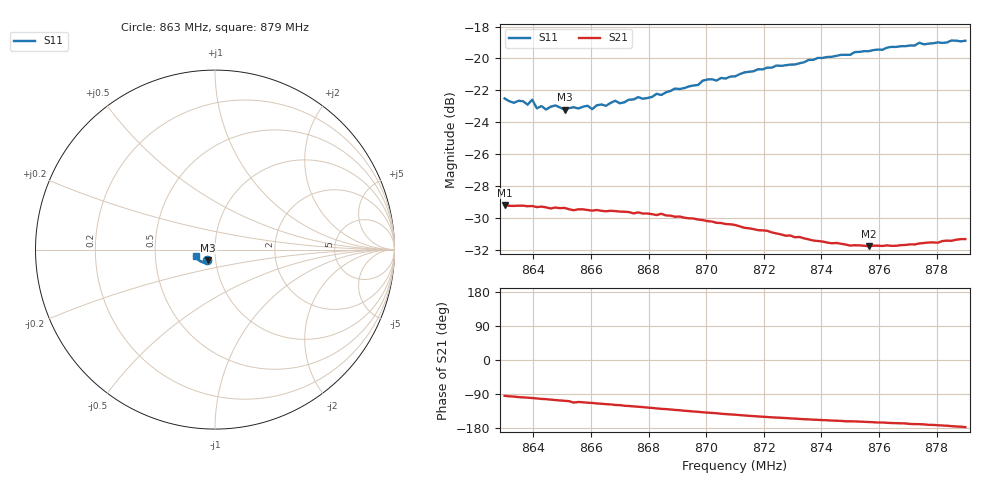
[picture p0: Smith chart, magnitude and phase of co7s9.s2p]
# HZ S RI R 50
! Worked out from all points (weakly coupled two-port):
!   101 points, 863 MHz to 879 MHz, reference 50 ohm
!   highest |S21| = -29.16 dB at 863 MHz (marker M1); lowest = -31.7 dB at 875.64 MHz (marker M2)
!   lowest |S11| = -23.2 dB at 865.08 MHz (marker M3), VSWR 1.15, Z = 46 - j5.33 ohm
!   |S11| at or under -10 dB: start of sweep to end of sweep
!   S12 and S22 are empty: the file has one direction only
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8.63e8  -0.0471 -0.0584  -0.0028 -0.0347  0 0  0 0
8.638e8  -0.0433 -0.0571  -0.00572 -0.034  0 0  0 0
8.6396e8  -0.0484 -0.0564  -0.00621 -0.034  0 0  0 0
8.6412e8  -0.0412 -0.0563  -0.0068 -0.0336  0 0  0 0
8.6428e8  -0.0409 -0.0581  -0.00761 -0.0336  0 0  0 0
8.6444e8  -0.0396 -0.0568  -0.00785 -0.0333  0 0  0 0
8.6476e8  -0.041 -0.0584  -0.00925 -0.0329  0 0  0 0
8.6508e8  -0.0384 -0.0576  -0.0104 -0.0325  0 0  0 0
8.6572e8  -0.0388 -0.059  -0.0124 -0.0314  0 0  0 0
8.6604e8  -0.0369 -0.0588  -0.0132 -0.0307  0 0  0 0
8.6684e8  -0.0389 -0.0627  -0.016 -0.0292  0 0  0 0
8.67e8  -0.0376 -0.0619  -0.0162 -0.029  0 0  0 0
8.6764e8  -0.0393 -0.0647  -0.0181 -0.0276  0 0  0 0
8.6844e8  -0.0397 -0.0658  -0.0205 -0.0254  0 0  0 0
8.6892e8  -0.0425 -0.0684  -0.0213 -0.0238  0 0  0 0
8.6972e8  -0.0441 -0.0699  -0.0228 -0.0215  0 0  0 0
8.6988e8  -0.0472 -0.071  -0.0232 -0.021  0 0  0 0
8.71e8  -0.0517 -0.0711  -0.0245 -0.0176  0 0  0 0
8.7372e8  -0.0698 -0.0702  -0.0249 -0.0104  0 0  0 0
8.7564e8  -0.0846 -0.0628  -0.0248 -0.00728  0 0  0 0
8.7644e8  -0.0919 -0.0581  -0.0252 -0.00614  0 0  0 0
8.79e8  -0.1074 -0.0371  -0.0272 -0.00138  0 0  0 0
